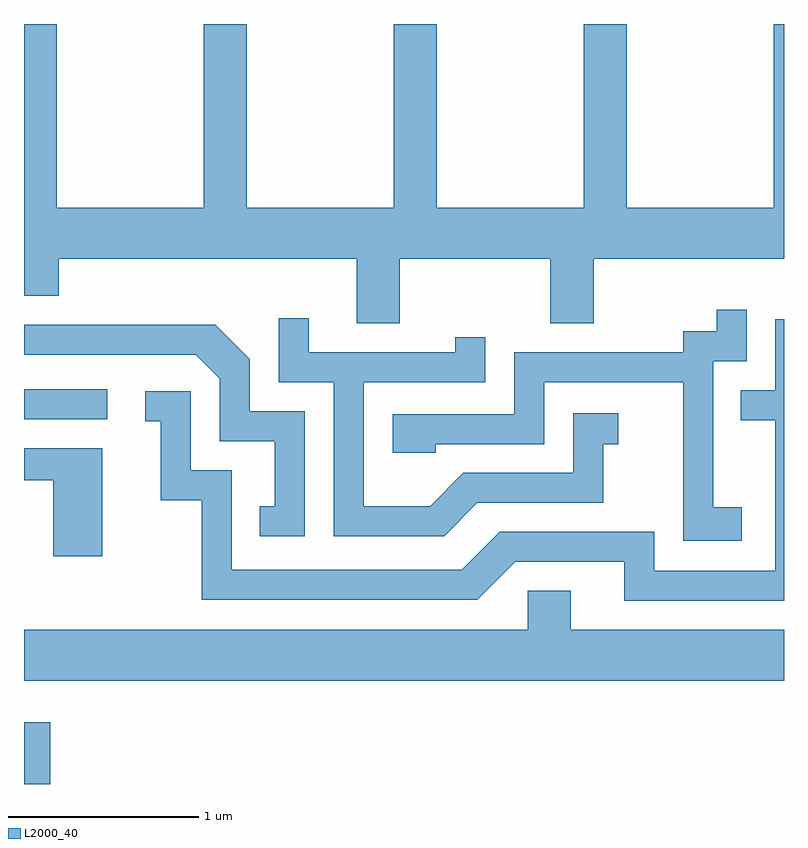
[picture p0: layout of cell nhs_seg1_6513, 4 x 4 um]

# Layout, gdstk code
import gdstk
lib = gdstk.Library(unit=1e-6, precision=1e-09)
def R(c, l, rs):  # rectangles x0, y0, x1, y1
    for r in rs: c.add(gdstk.rectangle(r[:2], r[2:], *l))
def P(c, l, *ps):  # polygons
    for p in ps: c.add(gdstk.Polygon(p, *l))
L2000_40 = (2000, 40)

nhs_seg1_6513 = lib.new_cell('nhs_seg1_6513')
R(nhs_seg1_6513, L2000_40, [(381.611,885.712,381.749,886.038), (381.611,887.631,382.048,887.789)])
P(nhs_seg1_6513, L2000_40, [(383.589,888.476),(384.381,888.476),(384.381,888.136),(384.609,888.136),(384.609,888.476),(385.611,888.476),(385.611,889.712),(385.556,889.712),(385.556,888.744),(384.784,888.744),(384.784,889.712),(384.556,889.712),(384.556,888.744),(383.784,888.744),(383.784,889.712),(383.556,889.712),(383.556,888.744),(382.784,888.744),(382.784,889.712),(382.556,889.712),(382.556,888.744),(381.784,888.744),(381.784,889.712),(381.611,889.712),(381.611,888.281),(381.794,888.281),(381.794,888.476),(383.361,888.476),(383.361,888.136),(383.589,888.136)],
  [(385.389,887.169),(385.239,887.169),(385.239,887.936),(385.414,887.936),(385.414,888.208),(385.256,888.208),(385.256,888.094),(385.081,888.094),(385.081,887.984),(384.191,887.984),(384.191,887.659),(383.551,887.659),(383.551,887.456),(383.779,887.456),(383.779,887.501),(384.349,887.501),(384.349,887.826),(385.081,887.826),(385.081,886.991),(385.389,886.991)],
  [(383.997,887.191),(384.659,887.191),(384.659,887.501),(384.738,887.501),(384.738,887.664),(384.501,887.664),(384.501,887.349),(383.924,887.349),(383.749,887.174),(383.399,887.174),(383.399,887.826),(384.039,887.826),(384.039,888.063),(383.881,888.063),(383.881,887.984),(383.109,887.984),(383.109,888.163),(382.951,888.163),(382.951,887.826),(383.241,887.826),(383.241,887.016),(383.822,887.016)],
  [(385.611,888.159),(385.566,888.159),(385.566,887.784),(385.383,887.784),(385.383,887.626),(385.566,887.626),(385.566,886.834),(384.929,886.834),(384.929,887.039),(384.114,887.039),(383.914,886.839),(382.704,886.839),(382.704,887.364),(382.489,887.364),(382.489,887.779),(382.248,887.779),(382.248,887.621),(382.331,887.621),(382.331,887.206),(382.546,887.206),(382.546,886.681),(383.997,886.681),(384.197,886.881),(384.771,886.881),(384.771,886.676),(385.611,886.676)],
  [(383.089,887.674),(382.799,887.674),(382.799,887.947),(382.617,888.129),(381.611,888.129),(381.611,887.971),(382.514,887.971),(382.641,887.844),(382.641,887.516),(382.931,887.516),(382.931,887.174),(382.853,887.174),(382.853,887.016),(383.089,887.016)],
  [(382.024,887.479),(381.611,887.479),(381.611,887.311),(381.766,887.311),(381.766,886.911),(382.024,886.911)],
  [(385.611,886.524),(384.489,886.524),(384.489,886.729),(384.261,886.729),(384.261,886.524),(381.611,886.524),(381.611,886.256),(385.611,886.256)])

lib.write_gds('nhs_seg1_6513.gds')
